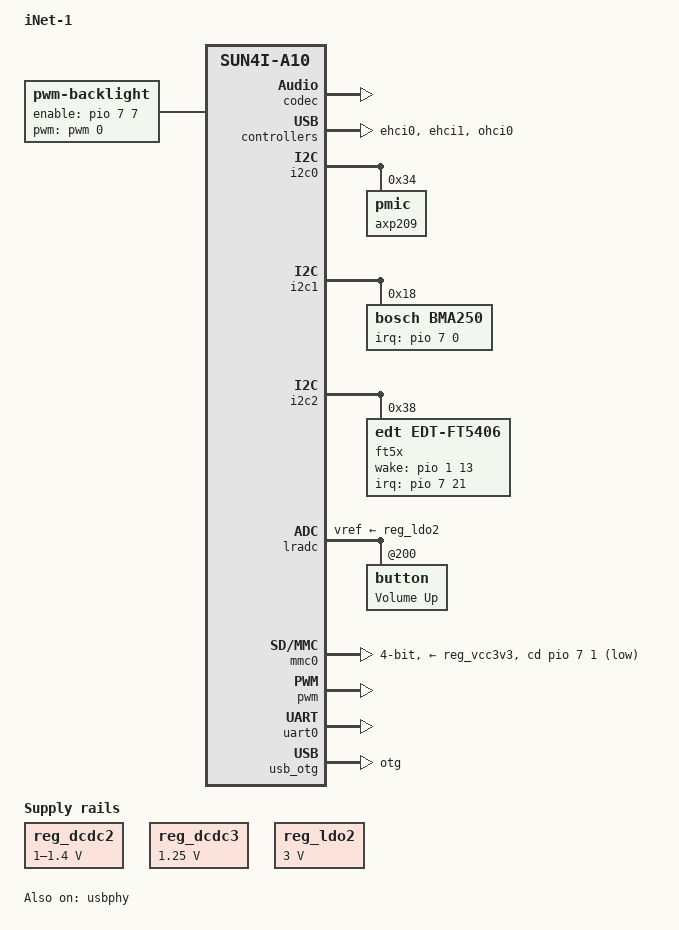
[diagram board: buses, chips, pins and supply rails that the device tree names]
/*
 * Copyright 2015 Hans de Goede <hdegoede@redhat.com>
 *
 * This file is dual-licensed: you can use it either under the terms
 * of the GPL or the X11 license, at your option. Note that this dual
 * licensing only applies to this file, and not this project as a
 * whole.
 *
 *  a) This file is free software; you can redistribute it and/or
 *     modify it under the terms of the GNU General Public License as
 *     published by the Free Software Foundation; either version 2 of the
 *     License, or (at your option) any later version.
 *
 *     This file is distributed in the hope that it will be useful,
 *     but WITHOUT ANY WARRANTY; without even the implied warranty of
 *     MERCHANTABILITY or FITNESS FOR A PARTICULAR PURPOSE.  See the
 *     GNU General Public License for more details.
 *
 * Or, alternatively,
 *
 *  b) Permission is hereby granted, free of charge, to any person
 *     obtaining a copy of this software and associated documentation
 *     files (the "Software"), to deal in the Software without
 *     restriction, including without limitation the rights to use,
 *     copy, modify, merge, publish, distribute, sublicense, and/or
 *     sell copies of the Software, and to permit persons to whom the
 *     Software is furnished to do so, subject to the following
 *     conditions:
 *
 *     The above copyright notice and this permission notice shall be
 *     included in all copies or substantial portions of the Software.
 *
 *     THE SOFTWARE IS PROVIDED "AS IS", WITHOUT WARRANTY OF ANY KIND,
 *     EXPRESS OR IMPLIED, INCLUDING BUT NOT LIMITED TO THE WARRANTIES
 *     OF MERCHANTABILITY, FITNESS FOR A PARTICULAR PURPOSE AND
 *     NONINFRINGEMENT. IN NO EVENT SHALL THE AUTHORS OR COPYRIGHT
 *     HOLDERS BE LIABLE FOR ANY CLAIM, DAMAGES OR OTHER LIABILITY,
 *     WHETHER IN AN ACTION OF CONTRACT, TORT OR OTHERWISE, ARISING
 *     FROM, OUT OF OR IN CONNECTION WITH THE SOFTWARE OR THE USE OR
 *     OTHER DEALINGS IN THE SOFTWARE.
 */

/dts-v1/;
#include "sun4i-a10.dtsi"
#include "sunxi-common-regulators.dtsi"
#include <dt-bindings/gpio/gpio.h>
#include <dt-bindings/input/input.h>
#include <dt-bindings/interrupt-controller/irq.h>
#include <dt-bindings/pwm/pwm.h>

/ {
	model = "iNet-1";
	compatible = "inet-tek,inet1", "allwinner,sun4i-a10";

	aliases {
		serial0 = &uart0;
	};

	backlight: backlight {
		compatible = "pwm-backlight";
		pinctrl-names = "default";
		pinctrl-0 = <&bl_en_pin_inet>;
		pwms = <&pwm 0 50000 PWM_POLARITY_INVERTED>;
		brightness-levels = <0 10 20 30 40 50 60 70 80 90 100>;
		default-brightness-level = <8>;
		enable-gpios = <&pio 7 7 GPIO_ACTIVE_HIGH>; /* PH7 */
	};

	chosen {
		stdout-path = "serial0:115200n8";
	};
};

&codec {
	status = "okay";
};

&cpu0 {
	cpu-supply = <&reg_dcdc2>;
};

&ehci0  {
	status = "okay";
};

&ehci1 {
	status = "okay";
};

&i2c0 {
	pinctrl-names = "default";
	pinctrl-0 = <&i2c0_pins_a>;
	status = "okay";

	axp209: pmic@34 {
		reg = <0x34>;
		interrupts = <0>;
	};
};

#include "axp209.dtsi"

&i2c1 {
	pinctrl-names = "default";
	pinctrl-0 = <&i2c1_pins_a>;
	status = "okay";

	/* Accelerometer */
	bma250@18 {
		compatible = "bosch,bma250";
		reg = <0x18>;
		interrupt-parent = <&pio>;
		interrupts = <7 0 IRQ_TYPE_EDGE_RISING>; /* PH0 / EINT0 */
	};
};

&i2c2 {
	pinctrl-names = "default";
	pinctrl-0 = <&i2c2_pins_a>;
	status = "okay";

	ft5x: touchscreen@38 {
		compatible = "edt,edt-ft5406";
		reg = <0x38>;
		interrupt-parent = <&pio>;
		interrupts = <7 21 IRQ_TYPE_EDGE_FALLING>;
		pinctrl-names = "default";
		pinctrl-0 = <&touchscreen_wake_pin>;
		wake-gpios = <&pio 1 13 GPIO_ACTIVE_HIGH>; /* PB13 */
		touchscreen-size-x = <600>;
		touchscreen-size-y = <1024>;
		touchscreen-swapped-x-y;
	};
};

&lradc {
	vref-supply = <&reg_ldo2>;
	status = "okay";

	button@200 {
		label = "Volume Up";
		linux,code = <KEY_VOLUMEUP>;
		channel = <0>;
		voltage = <200000>;
	};

	button@1000 {
		label = "Volume Down";
		linux,code = <KEY_VOLUMEDOWN>;
		channel = <0>;
		voltage = <1000000>;
	};

	button@1200 {
		label = "Home";
		linux,code = <KEY_HOMEPAGE>;
		channel = <0>;
		voltage = <1200000>;
	};
};

&mmc0 {
	pinctrl-names = "default";
	pinctrl-0 = <&mmc0_pins_a>;
	vmmc-supply = <&reg_vcc3v3>;
	bus-width = <4>;
	cd-gpios = <&pio 7 1 GPIO_ACTIVE_HIGH>; /* PH1 */
	cd-inverted;
	status = "okay";
};

&ohci0  {
	status = "okay";
};

&otg_sram {
	status = "okay";
};

&pio {
	bl_en_pin_inet: bl_en_pin@0 {
		pins = "PH7";
		function = "gpio_out";
	};

	touchscreen_wake_pin: touchscreen_wake_pin@0 {
		pins = "PB13";
		function = "gpio_out";
	};

	usb0_id_detect_pin: usb0_id_detect_pin@0 {
		pins = "PH4";
		function = "gpio_in";
		bias-pull-up;
	};

	usb0_vbus_detect_pin: usb0_vbus_detect_pin@0 {
		pins = "PH5";
		function = "gpio_in";
		bias-pull-down;
	};
};

&pwm {
	pinctrl-names = "default";
	pinctrl-0 = <&pwm0_pins_a>;
	status = "okay";
};

&reg_dcdc2 {
	regulator-always-on;
	regulator-min-microvolt = <1000000>;
	regulator-max-microvolt = <1400000>;
	regulator-name = "vdd-cpu";
};

&reg_dcdc3 {
	regulator-always-on;
	regulator-min-microvolt = <1250000>;
	regulator-max-microvolt = <1250000>;
	regulator-name = "vdd-int-dll";
};

&reg_ldo1 {
	regulator-name = "vdd-rtc";
};

&reg_ldo2 {
	regulator-always-on;
	regulator-min-microvolt = <3000000>;
	regulator-max-microvolt = <3000000>;
	regulator-name = "avcc";
};

&reg_usb0_vbus {
	status = "okay";
};

&reg_usb1_vbus {
	status = "okay";
};

&reg_usb2_vbus {
	status = "okay";
};

&uart0 {
	pinctrl-names = "default";
	pinctrl-0 = <&uart0_pins_a>;
	status = "okay";
};

&usb_otg {
	dr_mode = "otg";
	status = "okay";
};

&usbphy {
	pinctrl-names = "default";
	pinctrl-0 = <&usb0_id_detect_pin>, <&usb0_vbus_detect_pin>;
	usb0_id_det-gpio = <&pio 7 4 GPIO_ACTIVE_HIGH>; /* PH4 */
	usb0_vbus_det-gpio = <&pio 7 5 GPIO_ACTIVE_HIGH>; /* PH5 */
	usb0_vbus-supply = <&reg_usb0_vbus>;
	usb1_vbus-supply = <&reg_usb1_vbus>;
	usb2_vbus-supply = <&reg_usb2_vbus>;
	status = "okay";
};
